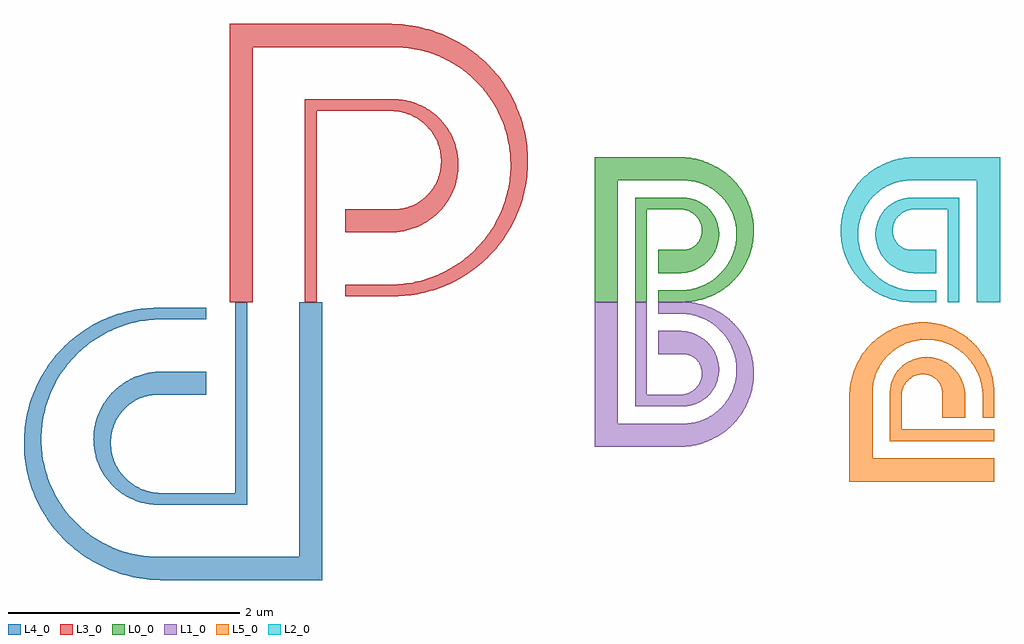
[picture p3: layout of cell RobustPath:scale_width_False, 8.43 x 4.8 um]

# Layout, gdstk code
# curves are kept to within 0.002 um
import gdstk
lib = gdstk.Library(unit=1e-6, precision=1e-12)
def R(c, l, rs):  # rectangles x0, y0, x1, y1
    for r in rs: c.add(gdstk.rectangle(r[:2], r[2:], *l))
def P(c, l, *ps):  # polygons
    for p in ps: c.add(gdstk.Polygon(p, *l))
L0_0 = (0, 0)
L1_0 = (1, 0)
L2_0 = (2, 0)
L3_0 = (3, 0)
L4_0 = (4, 0)
L5_0 = (5, 0)

robustpath_scale_width_f = lib.new_cell('RobustPath:scale_width_False')
P(robustpath_scale_width_f, L0_0, [(0.2,0.25),(0.2,0.8),(0.5,0.8),(0.529,0.7955),(0.5655,0.7832),(0.5984,0.7642),(0.6264,0.7395),(0.6533,0.7024),(0.6646,0.6778),(0.6735,0.6435),(0.6757,0.6173),(0.6726,0.583),(0.666,0.5584),(0.6518,0.5282),(0.6324,0.5018),(0.6086,0.4802),(0.5744,0.4608),(0.5299,0.4498),(0.3,0.45),(0.3,0.25),(0.5,0.25),(0.5426,0.2546),(0.5922,0.2668),(0.6391,0.2861),(0.6824,0.3119),(0.7212,0.3436),(0.7547,0.3803),(0.7822,0.4213),(0.8032,0.4656),(0.819,0.5201),(0.825,0.568),(0.8238,0.6159),(0.8157,0.6628),(0.8009,0.7076),(0.7797,0.7495),(0.7529,0.7876),(0.721,0.821),(0.6848,0.8491),(0.6451,0.8715),(0.6029,0.8876),(0.5591,0.8973),(0.5148,0.9004),(0.1,0.9),(0.1,0),(0.2,0)],
  [(-0.05,1.05),(0.5221,1.0502),(0.5884,1.0444),(0.6641,1.0253),(0.7258,0.9987),(0.7924,0.9563),(0.8433,0.9111),(0.8433,1.1413),(0.7607,1.1882),(0.6722,1.2223),(0.5793,1.2432),(0.5,1.25),(-0.25,1.25),(-0.25,0),(-0.05,0)],
  [(0.5295,-0.0001),(0.6177,0.0085),(0.6898,0.0255),(0.7731,0.0574),(0.8433,0.0964),(0.8433,0.2538),(0.7918,0.2066),(0.7424,0.1721),(0.6778,0.139),(0.6205,0.1188),(0.561,0.1057),(0.5123,0.1005),(0.3,0.1),(0.3,0)],
  [(0.8511,0.1015),(0.9108,0.1467),(0.9647,0.1992),(1.0119,0.258),(1.0516,0.3223),(1.0833,0.3913),(1.1064,0.4638),(1.1204,0.5389),(1.1252,0.6153),(1.1206,0.692),(1.1065,0.7678),(1.0832,0.8416),(1.0509,0.9121),(1.0102,0.9784),(0.9614,1.0393),(0.9054,1.094),(0.8433,1.1413),(0.8433,0.9111),(0.8734,0.8769),(0.9,0.8398),(0.923,0.8001),(0.9421,0.7582),(0.957,0.7145),(0.9675,0.6694),(0.9752,0.5883),(0.9734,0.5416),(0.9669,0.4952),(0.9558,0.4494),(0.9403,0.4048),(0.9204,0.3618),(0.8963,0.3209),(0.8433,0.2538),(0.8433,0.0964)])
P(robustpath_scale_width_f, L1_0, [(0.1,-0.25),(0.1,-0.9),(0.5148,-0.9004),(0.5738,-0.8948),(0.6313,-0.8776),(0.6719,-0.8572),(0.721,-0.821),(0.7529,-0.7876),(0.7874,-0.7359),(0.8065,-0.693),(0.8219,-0.6317),(0.8254,-0.584),(0.819,-0.5201),(0.806,-0.4732),(0.7822,-0.4213),(0.7495,-0.3739),(0.7088,-0.3324),(0.6685,-0.3026),(0.6239,-0.2789),(0.5759,-0.2619),(0.5342,-0.2532),(0.5,-0.25),(0.3,-0.25),(0.3,-0.45),(0.5224,-0.4493),(0.5598,-0.4556),(0.5885,-0.4675),(0.6149,-0.4851),(0.6324,-0.5018),(0.6596,-0.5429),(0.674,-0.5915),(0.6735,-0.6435),(0.6575,-0.6944),(0.6326,-0.7326),(0.6131,-0.7525),(0.5906,-0.7695),(0.5476,-0.7902),(0.5,-0.8),(0.2,-0.8),(0.2,0),(0.1,0)],
  [(0.8433,-0.0964),(0.7865,-0.064),(0.732,-0.0399),(0.6755,-0.0213),(0.6177,-0.0085),(0.5295,0.0001),(0.3,0),(0.3,-0.1),(0.5123,-0.1005),(0.561,-0.1057),(0.6205,-0.1188),(0.6778,-0.139),(0.7424,-0.1721),(0.7918,-0.2066),(0.8433,-0.2538)],
  [(0.5159,-1.2494),(0.595,-1.2406),(0.6873,-1.2175),(0.7749,-1.1812),(0.8433,-1.1413),(0.8433,-0.9111),(0.7924,-0.9563),(0.7258,-0.9987),(0.6641,-1.0253),(0.5884,-1.0444),(0.5221,-1.0502),(-0.05,-1.05),(-0.05,0),(-0.25,0),(-0.25,-1.25)],
  [(0.8559,-1.1327),(0.9054,-1.094),(0.9614,-1.0393),(1.0102,-0.9784),(1.0509,-0.9121),(1.0832,-0.8416),(1.1065,-0.7678),(1.1206,-0.692),(1.1252,-0.6153),(1.1204,-0.5389),(1.1064,-0.4638),(1.0833,-0.3913),(1.0516,-0.3223),(1.0119,-0.258),(0.9647,-0.1992),(0.9108,-0.1467),(0.8433,-0.0964),(0.8433,-0.2538),(0.8963,-0.3209),(0.9204,-0.3618),(0.9403,-0.4048),(0.9646,-0.4836),(0.9722,-0.53),(0.9752,-0.5767),(0.9736,-0.6233),(0.9675,-0.6694),(0.957,-0.7145),(0.9421,-0.7582),(0.923,-0.8001),(0.9,-0.8398),(0.8734,-0.8769),(0.8433,-0.9111),(0.8433,-1.1413)])
P(robustpath_scale_width_f, L2_0, [(2.9,0.25),(2.9,0.9),(2.4852,0.9004),(2.4262,0.8948),(2.3687,0.8776),(2.3281,0.8572),(2.279,0.821),(2.2471,0.7876),(2.2126,0.7359),(2.1935,0.693),(2.1781,0.6317),(2.1746,0.584),(2.181,0.5201),(2.194,0.4732),(2.2178,0.4213),(2.2505,0.3739),(2.2912,0.3324),(2.3315,0.3026),(2.3761,0.2789),(2.4241,0.2619),(2.4658,0.2532),(2.5,0.25),(2.7,0.25),(2.7,0.45),(2.4776,0.4493),(2.4402,0.4556),(2.4115,0.4675),(2.3851,0.4851),(2.3676,0.5018),(2.3404,0.5429),(2.326,0.5915),(2.3265,0.6435),(2.3425,0.6944),(2.3674,0.7326),(2.3869,0.7525),(2.4094,0.7695),(2.4524,0.7902),(2.5,0.8),(2.8,0.8),(2.8,0),(2.9,0)],
  [(2.1614,0.2489),(2.1317,0.2823),(2.1037,0.3209),(2.0796,0.3618),(2.0597,0.4048),(2.0442,0.4494),(2.0331,0.4952),(2.0266,0.5416),(2.0248,0.5883),(2.0275,0.6349),(2.0347,0.6807),(2.0463,0.7255),(2.0623,0.7688),(2.0823,0.8102),(2.1063,0.8493),(2.1338,0.8857),(2.1614,0.9159),(2.1614,1.1444),(2.0946,1.094),(2.0386,1.0393),(1.9898,0.9784),(1.9491,0.9121),(1.9168,0.8416),(1.8935,0.7678),(1.8794,0.692),(1.8748,0.6153),(1.8816,0.5237),(1.8901,0.4787),(1.9064,0.4199),(1.9223,0.3772),(1.9484,0.3223),(1.9713,0.2831),(2.0062,0.2337),(2.0353,0.1992),(2.0779,0.1567),(2.1124,0.1277),(2.1614,0.0933)],
  [(3.25,1.25),(2.5,1.25),(2.4523,1.2471),(2.3738,1.2344),(2.2977,1.2124),(2.2251,1.1812),(2.1614,1.1444),(2.1614,0.9159),(2.2167,0.9631),(2.2742,0.9987),(2.3359,1.0253),(2.4116,1.0444),(2.4779,1.0502),(3.05,1.05),(3.05,0),(3.25,0)],
  [(2.5,0),(2.7,0),(2.7,0.1),(2.4877,0.1005),(2.439,0.1057),(2.3795,0.1188),(2.3222,0.139),(2.2576,0.1721),(2.2082,0.2066),(2.1614,0.2489),(2.1614,0.0933),(2.2405,0.0512),(2.3245,0.0213),(2.4116,0.0042)])
R(robustpath_scale_width_f, L3_0, [(-2.75,0,-2.65,1.1896)])
P(robustpath_scale_width_f, L3_0, [(-2,0.6),(-1.9559,0.6028),(-1.8979,0.6115),(-1.8411,0.6259),(-1.7862,0.6457),(-1.7336,0.6707),(-1.6838,0.7007),(-1.6373,0.7353),(-1.5946,0.7742),(-1.556,0.817),(-1.5219,0.8633),(-1.4926,0.9125),(-1.4683,0.9643),(-1.4492,1.018),(-1.4355,1.0732),(-1.4274,1.1294),(-1.4248,1.1896),(-1.5755,1.1896),(-1.5819,1.138),(-1.5978,1.078),(-1.6222,1.0213),(-1.6544,0.9691),(-1.6868,0.9298),(-1.7313,0.8885),(-1.7812,0.8545),(-1.8352,0.8282),(-1.8922,0.8103),(-1.9606,0.8004),(-2.4,0.8),(-2.4,0.6)],
  [(-1.425,1.2),(-1.4313,1.2701),(-1.45,1.3522),(-1.4804,1.4303),(-1.5218,1.5028),(-1.5732,1.5682),(-1.6334,1.625),(-1.7009,1.6723),(-1.7744,1.7089),(-1.8129,1.723),(-1.8654,1.7373),(-1.9595,1.7497),(-2.75,1.75),(-2.75,1.1896),(-2.65,1.1896),(-2.65,1.65),(-2,1.65),(-1.9343,1.6428),(-1.8604,1.6225),(-1.801,1.5953),(-1.738,1.5533),(-1.6906,1.5094),(-1.6445,1.4503),(-1.6138,1.3944),(-1.5888,1.3247),(-1.5773,1.2627),(-1.5755,1.1896),(-1.4248,1.1896)],
  [(-3.2,2.2),(-1.9754,2.2001),(-1.8529,2.1915),(-1.7561,2.1738),(-1.6847,2.1543),(-1.6149,2.1297),(-1.5471,2.0999),(-1.4815,2.0651),(-1.4186,2.0256),(-1.3587,1.9815),(-1.3021,1.933),(-1.3021,2.1638),(-1.4126,2.237),(-1.5164,2.291),(-1.5976,2.3247),(-1.653,2.3438),(-1.7665,2.3739),(-1.8825,2.3927),(-2,2.4),(-3.4,2.4),(-3.4,0),(-3.2,0)],
  [(-1.9435,0.0506),(-1.859,0.0567),(-1.8029,0.0642),(-1.7473,0.0745),(-1.6648,0.095),(-1.6107,0.1121),(-1.5313,0.1426),(-1.4542,0.1789),(-1.4044,0.2062),(-1.3021,0.2732),(-1.3021,0.4313),(-1.401,0.3495),(-1.5087,0.2809),(-1.6242,0.2258),(-1.7458,0.1853),(-1.8463,0.1637),(-1.9485,0.152),(-2.4,0.15),(-2.4,0.05)],
  [(-1.286,0.2851),(-1.2198,0.3392),(-1.178,0.378),(-1.1189,0.4399),(-1.082,0.4836),(-1.0308,0.5524),(-0.9995,0.6003),(-0.9442,0.7006),(-0.9092,0.7792),(-0.8891,0.833),(-0.864,0.9154),(-0.8506,0.9714),(-0.8358,1.0564),(-0.8294,1.1136),(-0.825,1.2288),(-0.8291,1.3153),(-0.8354,1.3728),(-0.8445,1.4298),(-0.8634,1.5145),(-0.8885,1.5977),(-0.9087,1.652),(-0.9569,1.7576),(-0.9997,1.8334),(-1.0314,1.8822),(-1.1017,1.9749),(-1.1402,2.0186),(-1.202,2.0805),(-1.3021,2.1638),(-1.3021,1.933),(-1.2161,1.8433),(-1.1555,1.7643),(-1.1029,1.6795),(-1.0588,1.5899),(-1.0236,1.4962),(-0.9978,1.3994),(-0.9815,1.3003),(-0.975,1.2),(-0.9808,1.0743),(-0.9965,0.9747),(-1.0219,0.8769),(-1.0569,0.7819),(-1.101,0.6907),(-1.154,0.6042),(-1.2153,0.5231),(-1.3021,0.4313),(-1.3021,0.2732)])
R(robustpath_scale_width_f, L4_0, [(-3.35,-1.1792,-3.25,0)])
P(robustpath_scale_width_f, L4_0, [(-4,-1.75),(-3.25,-1.75),(-3.25,-1.1792),(-3.35,-1.1792),(-3.35,-1.65),(-4,-1.65),(-4.0657,-1.6428),(-4.1396,-1.6225),(-4.199,-1.5953),(-4.262,-1.5533),(-4.3094,-1.5094),(-4.3555,-1.4503),(-4.3862,-1.3944),(-4.4112,-1.3247),(-4.4237,-1.2523),(-4.4237,-1.1792),(-4.5752,-1.1792),(-4.5723,-1.2422),(-4.5638,-1.2978),(-4.55,-1.3522),(-4.531,-1.4048),(-4.507,-1.4552),(-4.4782,-1.5028),(-4.445,-1.5473),(-4.4077,-1.5881),(-4.3666,-1.625),(-4.3223,-1.6577),(-4.2751,-1.6857),(-4.2256,-1.7089),(-4.1741,-1.7271),(-4.1213,-1.7401),(-4.0676,-1.7478)],
  [(-4.4227,-1.1688),(-4.4138,-1.1177),(-4.3987,-1.0683),(-4.3778,-1.0213),(-4.3456,-0.9691),(-4.3132,-0.9298),(-4.2765,-0.8949),(-4.2359,-0.865),(-4.1832,-0.8361),(-4.1175,-0.8127),(-4.0394,-0.8004),(-3.6,-0.8),(-3.6,-0.6),(-4,-0.6),(-4.0732,-0.6065),(-4.1307,-0.618),(-4.2003,-0.6402),(-4.2664,-0.6707),(-4.3281,-0.7089),(-4.3626,-0.7353),(-4.4054,-0.7742),(-4.444,-0.817),(-4.4781,-0.8633),(-4.5074,-0.9125),(-4.5317,-0.9643),(-4.5508,-1.018),(-4.5645,-1.0732),(-4.5726,-1.1294),(-4.5752,-1.1792),(-4.4237,-1.1792)],
  [(-4.6911,-1.9391),(-4.7676,-1.8621),(-4.83,-1.7846),(-4.8971,-1.6795),(-4.9412,-1.5899),(-4.9837,-1.4722),(-5.0072,-1.3748),(-5.0211,-1.2753),(-5.0251,-1.1748),(-5.0192,-1.0743),(-5.0084,-0.9994),(-4.9853,-0.9011),(-4.9618,-0.829),(-4.9109,-0.7131),(-4.846,-0.6042),(-4.7682,-0.5038),(-4.6911,-0.4251),(-4.6911,-0.2682),(-4.7585,-0.3206),(-4.8013,-0.3583),(-4.8619,-0.4188),(-4.8998,-0.4615),(-4.9527,-0.529),(-4.9851,-0.5762),(-5.0152,-0.6249),(-5.0558,-0.7006),(-5.0908,-0.7792),(-5.1109,-0.833),(-5.136,-0.9154),(-5.1494,-0.9714),(-5.1642,-1.0564),(-5.1706,-1.1136),(-5.175,-1.2288),(-5.1709,-1.3153),(-5.1604,-1.4013),(-5.1436,-1.4865),(-5.1205,-1.5702),(-5.0913,-1.652),(-5.0562,-1.7316),(-5.0152,-1.8085),(-4.9686,-1.8822),(-4.8983,-1.9749),(-4.8397,-2.0397),(-4.7764,-2.1001),(-4.6911,-2.1688)],
  [(-2.6,0),(-2.8,0),(-2.8,-2.2),(-4.0246,-2.2001),(-4.1471,-2.1915),(-4.2199,-2.1791),(-4.2916,-2.1614),(-4.362,-2.1385),(-4.4306,-2.1103),(-4.4969,-2.0772),(-4.5608,-2.0393),(-4.6217,-1.9967),(-4.6911,-1.9391),(-4.6911,-2.1688),(-4.6372,-2.2062),(-4.562,-2.2514),(-4.4836,-2.291),(-4.4298,-2.3141),(-4.347,-2.3438),(-4.2622,-2.3674),(-4.2047,-2.3796),(-4.1175,-2.3927),(-4,-2.4),(-2.6,-2.4)],
  [(-4.6784,-0.4135),(-4.5781,-0.3348),(-4.4688,-0.2687),(-4.3519,-0.2165),(-4.2293,-0.1789),(-4.1283,-0.1598),(-4.0258,-0.1507),(-3.6,-0.15),(-3.6,-0.05),(-4.0282,-0.05),(-4.1129,-0.054),(-4.1971,-0.0642),(-4.2527,-0.0745),(-4.3352,-0.095),(-4.3893,-0.1121),(-4.4687,-0.1426),(-4.5458,-0.1789),(-4.6201,-0.2208),(-4.6911,-0.2682),(-4.6911,-0.4251)])
P(robustpath_scale_width_f, L5_0, [(2.95,-1.1),(2.4,-1.1),(2.4,-0.8),(2.4045,-0.771),(2.4168,-0.7345),(2.4358,-0.7016),(2.4605,-0.6736),(2.4976,-0.6467),(2.5222,-0.6354),(2.5565,-0.6265),(2.5827,-0.6243),(2.617,-0.6274),(2.6416,-0.634),(2.6718,-0.6482),(2.6982,-0.6676),(2.7198,-0.6914),(2.7392,-0.7256),(2.7502,-0.7701),(2.75,-1),(2.95,-1),(2.95,-0.8),(2.9454,-0.7574),(2.9332,-0.7078),(2.9139,-0.6609),(2.8881,-0.6176),(2.8564,-0.5788),(2.8197,-0.5453),(2.7787,-0.5178),(2.7344,-0.4968),(2.6799,-0.481),(2.632,-0.475),(2.5841,-0.4762),(2.5372,-0.4843),(2.4924,-0.4991),(2.4505,-0.5203),(2.4124,-0.5471),(2.379,-0.579),(2.3509,-0.6152),(2.3285,-0.6549),(2.3124,-0.6971),(2.3027,-0.7409),(2.2996,-0.7852),(2.3,-1.2),(3.2,-1.2),(3.2,-1.1)],
  [(3.2,-1.35),(2.15,-1.35),(2.1498,-0.7779),(2.1556,-0.7116),(2.1747,-0.6359),(2.2013,-0.5742),(2.2369,-0.5167),(2.2886,-0.4571),(2.0584,-0.4571),(2.0188,-0.5251),(1.9876,-0.5977),(1.9656,-0.6738),(1.9529,-0.7523),(1.95,-0.8),(1.95,-1.55),(3.2,-1.55)],
  [(3.2,-0.85),(3.1987,-0.741),(3.1915,-0.6823),(3.1824,-0.6388),(3.1653,-0.582),(3.1487,-0.5405),(3.1067,-0.4614),(3.1038,-0.4571),(2.9466,-0.4571),(2.9934,-0.5082),(3.0279,-0.5576),(3.061,-0.6222),(3.0812,-0.6795),(3.0943,-0.739),(3.0995,-0.7877),(3.1,-1),(3.2,-1)],
  [(3.0985,-0.4489),(3.0533,-0.3892),(3.0008,-0.3353),(2.942,-0.2881),(2.8777,-0.2484),(2.8087,-0.2167),(2.7362,-0.1936),(2.6611,-0.1796),(2.5847,-0.1748),(2.5079,-0.1794),(2.4322,-0.1935),(2.3584,-0.2168),(2.2879,-0.2491),(2.2216,-0.2898),(2.1607,-0.3386),(2.106,-0.3946),(2.0584,-0.4571),(2.2886,-0.4571),(2.3231,-0.4266),(2.3602,-0.3999),(2.3999,-0.377),(2.4418,-0.3579),(2.4855,-0.343),(2.5306,-0.3325),(2.6117,-0.3248),(2.6584,-0.3266),(2.7048,-0.3331),(2.7506,-0.3442),(2.7952,-0.3597),(2.8382,-0.3796),(2.8791,-0.4037),(2.9466,-0.4571),(3.1038,-0.4571)])

lib.write_gds('RobustPath_scale_width_False.gds')
